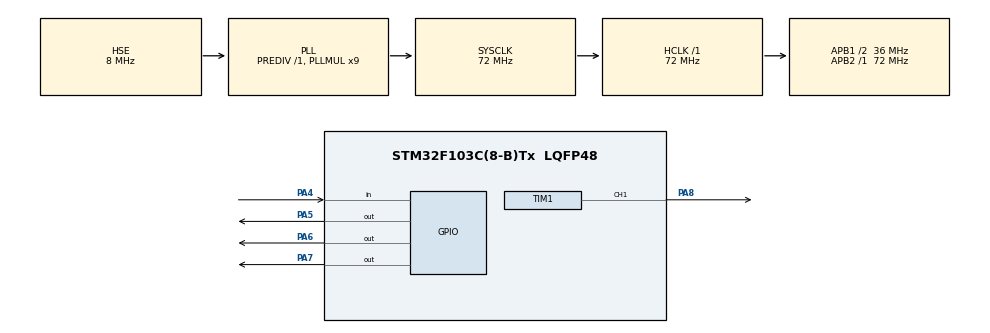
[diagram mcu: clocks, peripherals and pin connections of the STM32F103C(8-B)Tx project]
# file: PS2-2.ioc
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Mcu.Family=STM32F1
Mcu.Name=STM32F103C(8-B)Tx
Mcu.Package=LQFP48
NVIC.PriorityGroup=NVIC_PRIORITYGROUP_4
PA13.Mode=Serial_Wire
PA13.Signal=SYS_JTMS-SWDIO
PA14.Mode=Serial_Wire
PA14.Signal=SYS_JTCK-SWCLK
PA4.GPIO_PuPd=GPIO_PULLUP
PA4.Signal=GPIO_Input
PA5.GPIO_Speed=GPIO_SPEED_FREQ_HIGH
PA5.Signal=GPIO_Output
PA6.GPIO_Speed=GPIO_SPEED_FREQ_HIGH
PA6.Signal=GPIO_Output
PA7.GPIO_Speed=GPIO_SPEED_FREQ_HIGH
PA7.Signal=GPIO_Output
PA8.Signal=S_TIM1_CH1
PD0-OSC_IN.Mode=HSE-External-Oscillator
PD0-OSC_IN.Signal=RCC_OSC_IN
PD1-OSC_OUT.Mode=HSE-External-Oscillator
PD1-OSC_OUT.Signal=RCC_OSC_OUT
ProjectManager.HeapSize=0x200
ProjectManager.StackSize=0x400
ProjectManager.TargetToolchain=Makefile
RCC.AHBFreq_Value=72000000
RCC.APB1CLKDivider=RCC_HCLK_DIV2
RCC.APB1Freq_Value=36000000
RCC.APB1TimFreq_Value=72000000
RCC.APB2Freq_Value=72000000
RCC.APB2TimFreq_Value=72000000
RCC.HCLKFreq_Value=72000000
RCC.PLLMUL=RCC_PLL_MUL9
RCC.PLLSourceVirtual=RCC_PLLSOURCE_HSE
RCC.SYSCLKFreq_VALUE=72000000
RCC.SYSCLKSource=RCC_SYSCLKSOURCE_PLLCLK
RCC.USBFreq_Value=72000000
SH.S_TIM1_CH1.0=TIM1_CH1,PWM Generation1 CH1
TIM1.Channel-PWM\ Generation1\ CH1=TIM_CHANNEL_1
TIM1.Period=20000-1
TIM1.Prescaler=72-1
board=custom

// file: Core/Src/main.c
/* USER CODE BEGIN Header */
/**
 ******************************************************************************
 * @file           : main.c
 * @brief          : Main program body
 ******************************************************************************
 * @attention
 *
 * Copyright (c) 2025 STMicroelectronics.
 * All rights reserved.
 *
 * This software is licensed under terms that can be found in the LICENSE file
 * in the root directory of this software component.
 * If no LICENSE file comes with this software, it is provided AS-IS.
 *
 ******************************************************************************
 */
/* USER CODE END Header */
#include "main.h"
#include "tim.h"
#include "gpio.h"

/* USER CODE BEGIN Includes */
#include "ax_ps2.h"
#include <math.h>
/* USER CODE END Includes */

/* USER CODE BEGIN PV */
JOYSTICK_TypeDef ps2;
/* USER CODE END PV */

void SystemClock_Config(void);
/* USER CODE BEGIN PFP */
static void Servo_SetPulse_us(uint16_t pulse_us);
static void Servo_SetAngle(float angle_deg);
/* USER CODE END PFP */

/* USER CODE BEGIN 0 */
extern TIM_HandleTypeDef htim1; // TIM1 来自 CubeMX
/* USER CODE END 0 */

int main(void)
{
    /* MCU Configuration--------------------------------------------------------*/
    HAL_Init();
    SystemClock_Config();

    MX_GPIO_Init();
    MX_TIM1_Init();

    /* USER CODE BEGIN 2 */
    AX_PS2_Init();
    HAL_TIM_PWM_Start(&htim1, TIM_CHANNEL_1); // 开启 TIM1_CH1 (PA8) PWM 输出
    Servo_SetAngle(90.0f);                    // 初始居中
    /* USER CODE END 2 */

    /* Infinite loop */
    /* USER CODE BEGIN WHILE */
    while (1) {
        AX_PS2_ScanKey(&ps2);

        // 将左摇杆水平 (0~255) 映射到 0~180°
        float angle = (ps2.LJoy_LR / 255.0f) * 180.0f;
        Servo_SetAngle(angle);

        HAL_Delay(20); // 20ms 更新一次
    }
    /* USER CODE END WHILE */
}

void SystemClock_Config(void)
{
    RCC_OscInitTypeDef RCC_OscInitStruct = {0};
    RCC_ClkInitTypeDef RCC_ClkInitStruct = {0};

    RCC_OscInitStruct.OscillatorType = RCC_OSCILLATORTYPE_HSE;
    RCC_OscInitStruct.HSEState       = RCC_HSE_ON;
    RCC_OscInitStruct.HSEPredivValue = RCC_HSE_PREDIV_DIV1;
    RCC_OscInitStruct.HSIState       = RCC_HSI_ON;
    RCC_OscInitStruct.PLL.PLLState   = RCC_PLL_ON;
    RCC_OscInitStruct.PLL.PLLSource  = RCC_PLLSOURCE_HSE;
    RCC_OscInitStruct.PLL.PLLMUL     = RCC_PLL_MUL9;
    if (HAL_RCC_OscConfig(&RCC_OscInitStruct) != HAL_OK) {
        Error_Handler();
    }

    RCC_ClkInitStruct.ClockType      = RCC_CLOCKTYPE_HCLK | RCC_CLOCKTYPE_SYSCLK | RCC_CLOCKTYPE_PCLK1 | RCC_CLOCKTYPE_PCLK2;
    RCC_ClkInitStruct.SYSCLKSource   = RCC_SYSCLKSOURCE_PLLCLK;
    RCC_ClkInitStruct.AHBCLKDivider  = RCC_SYSCLK_DIV1;
    RCC_ClkInitStruct.APB1CLKDivider = RCC_HCLK_DIV2;
    RCC_ClkInitStruct.APB2CLKDivider = RCC_HCLK_DIV1;

    if (HAL_RCC_ClockConfig(&RCC_ClkInitStruct, FLASH_LATENCY_2) != HAL_OK) {
        Error_Handler();
    }
}

/* USER CODE BEGIN 4 */
// 设置 PWM 脉宽 (us)
static void Servo_SetPulse_us(uint16_t pulse_us)
{
    if (pulse_us < 500) pulse_us = 500;
    if (pulse_us > 2500) pulse_us = 2500;
    __HAL_TIM_SET_COMPARE(&htim1, TIM_CHANNEL_1, pulse_us);
}

// 设置舵机角度 (0~180°)
static void Servo_SetAngle(float angle_deg)
{
    if (angle_deg < 0) angle_deg = 0;
    if (angle_deg > 180) angle_deg = 180;
    uint16_t pulse = (uint16_t)(500.0f + angle_deg * (2000.0f / 180.0f));
    Servo_SetPulse_us(pulse);
}
/* USER CODE END 4 */

void Error_Handler(void)
{
    __disable_irq();
    while (1) {}
}
